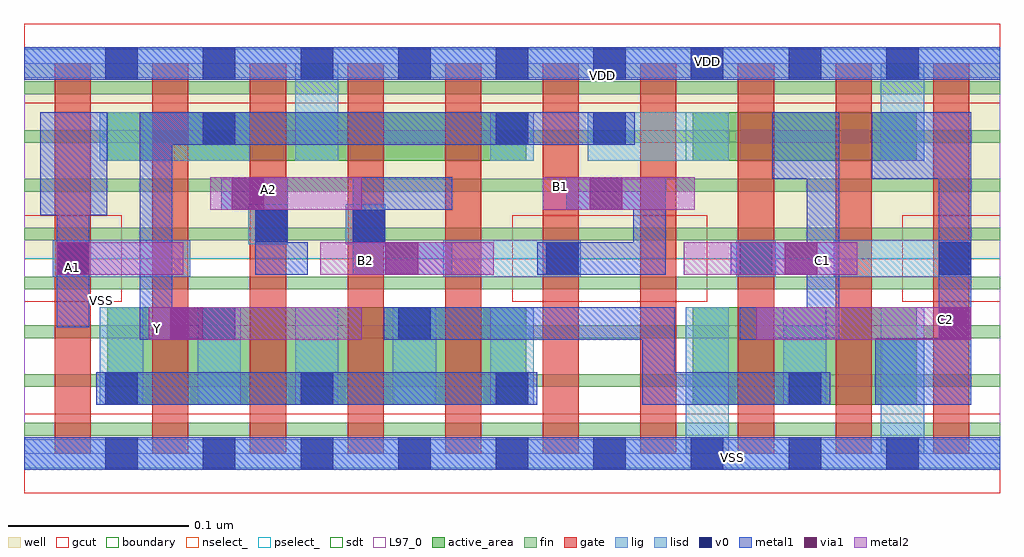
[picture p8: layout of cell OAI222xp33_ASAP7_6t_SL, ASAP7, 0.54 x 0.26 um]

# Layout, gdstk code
import gdstk
lib = gdstk.Library(unit=1e-6, precision=2.5e-10)
def R(c, l, rs):  # rectangles x0, y0, x1, y1
    for r in rs: c.add(gdstk.rectangle(r[:2], r[2:], *l))
def A(c, l, x, y, w, h, nx, ny, dx, dy):  # array of equal rectangles
    R(c, l, [(x+i*dx, y+j*dy, x+i*dx+w, y+j*dy+h) for i in range(nx) for j in range(ny)])
def P(c, l, *ps):  # polygons
    for p in ps: c.add(gdstk.Polygon(p, *l))
well = (1, 0)
fin = (2, 0)
gate = (7, 0)
gcut = (10, 0)
active_area = (11, 0)
nselect_ = (12, 0)
pselect_ = (13, 0)
lig = (16, 0)
lisd = (17, 0)
v0 = (18, 0)
metal1 = (19, 0)
metal2 = (20, 0)
via1 = (21, 0)
sdt = (88, 0)
L97_0 = (97, 0)
boundary = (100, 0)

oai222xp33_asap7_6t_sl = lib.new_cell('OAI222xp33_ASAP7_6t_SL')
R(oai222xp33_asap7_6t_sl, well, [(0,0.108,0.54,0.216)])
A(oai222xp33_asap7_6t_sl, fin, 0, 0.037, 0.54, 0.007, 1, 7, 0, 0.027)
R(oai222xp33_asap7_6t_sl, fin, [(0,0.01,0.54,0.017), (0,0.01,0.54,0.017), (0,0.037,0.54,0.044)])
A(oai222xp33_asap7_6t_sl, gate, 0.017, 0, 0.02, 0.216, 10, 1, 0.054, 0)
R(oai222xp33_asap7_6t_sl, gcut, [(0,-0.022,0.54,0.022), (0,0.084,0.054,0.132), (0.27,0.084,0.378,0.132), (0.486,0.084,0.54,0.132), (0,0.194,0.54,0.238)])
R(oai222xp33_asap7_6t_sl, active_area, [(0.046,0.027,0.278,0.081), (0.37,0.027,0.494,0.081), (0.046,0.162,0.278,0.189), (0.37,0.162,0.494,0.189)])
R(oai222xp33_asap7_6t_sl, nselect_, [(0,0,0.54,0.108)])
R(oai222xp33_asap7_6t_sl, pselect_, [(0,0.108,0.54,0.216)])
A(oai222xp33_asap7_6t_sl, lig, 0.016, 0.098, 0.076, 0.02, 3, 1, 0.216, 0)
R(oai222xp33_asap7_6t_sl, lig, [(0,-0.008,0.54,0.008), (0.394,0.098,0.416,0.118), (0.124,0.116,0.146,0.138), (0.178,0.116,0.2,0.138), (0,0.208,0.54,0.224)])
A(oai222xp33_asap7_6t_sl, lisd, 0.042, 0.027, 0.024, 0.054, 5, 1, 0.054, 0)
R(oai222xp33_asap7_6t_sl, lisd, [(0.366,0,0.39,0.081), (0.474,0,0.498,0.081), (0.42,0.027,0.444,0.081), (0.042,0.162,0.125,0.189), (0.15,0.162,0.174,0.216), (0.258,0.162,0.282,0.189), (0.312,0.162,0.39,0.189), (0.474,0.162,0.498,0.216)])
A(oai222xp33_asap7_6t_sl, v0, 0.045, -0.009, 0.018, 0.018, 9, 2, 0.054, 0.216)
A(oai222xp33_asap7_6t_sl, v0, 0.045, 0.027, 0.018, 0.018, 3, 1, 0.108, 0)
R(oai222xp33_asap7_6t_sl, v0, [(0.423,0.027,0.441,0.045), (0.099,0.063,0.117,0.081), (0.207,0.063,0.225,0.081), (0.018,0.099,0.036,0.117), (0.289,0.099,0.307,0.117), (0.396,0.099,0.414,0.117), (0.506,0.099,0.524,0.117), (0.128,0.117,0.146,0.135), (0.182,0.117,0.2,0.135), (0.099,0.171,0.117,0.189), (0.261,0.171,0.279,0.189), (0.315,0.171,0.333,0.189)])
R(oai222xp33_asap7_6t_sl, metal1, [(0,-0.009,0.54,0.009), (0.04,0.027,0.284,0.045), (0.471,0.027,0.522,0.064), (0.506,0.027,0.524,0.189), (0.396,0.063,0.433,0.081), (0.433,0.063,0.451,0.189), (0.018,0.07,0.036,0.189), (0.128,0.099,0.157,0.117), (0.182,0.099,0.237,0.117), (0.391,0.099,0.451,0.117), (0.009,0.132,0.046,0.189), (0.414,0.152,0.433,0.189), (0.469,0.152,0.522,0.189), (0,0.207,0.54,0.225)])
P(oai222xp33_asap7_6t_sl, metal1, [(0.446,0.045),(0.36,0.045),(0.36,0.081),(0.199,0.081),(0.199,0.063),(0.342,0.063),(0.342,0.027),(0.446,0.027)],
  [(0.182,0.117),(0.2,0.117),(0.2,0.135),(0.237,0.135),(0.237,0.153),(0.182,0.153)],
  [(0.338,0.171),(0.082,0.171),(0.082,0.081),(0.117,0.081),(0.117,0.063),(0.064,0.063),(0.064,0.189),(0.338,0.189)],
  [(0.146,0.099),(0.128,0.099),(0.128,0.135),(0.109,0.135),(0.109,0.153),(0.146,0.153)],
  [(0.355,0.099),(0.284,0.099),(0.284,0.117),(0.337,0.117),(0.337,0.135),(0.3,0.135),(0.3,0.153),(0.355,0.153)])
R(oai222xp33_asap7_6t_sl, metal2, [(0.069,0.063,0.187,0.081), (0.405,0.063,0.524,0.081), (0.018,0.099,0.088,0.117), (0.164,0.099,0.26,0.117), (0.365,0.099,0.461,0.117), (0.103,0.135,0.187,0.153), (0.287,0.135,0.371,0.153)])
R(oai222xp33_asap7_6t_sl, via1, [(0.081,0.063,0.099,0.081), (0.506,0.063,0.524,0.081), (0.018,0.099,0.036,0.117), (0.2,0.099,0.218,0.117), (0.421,0.099,0.439,0.117), (0.115,0.135,0.133,0.153), (0.313,0.135,0.331,0.153)])
A(oai222xp33_asap7_6t_sl, sdt, 0.042, 0.027, 0.024, 0.054, 5, 1, 0.054, 0)
A(oai222xp33_asap7_6t_sl, sdt, 0.366, 0.027, 0.024, 0.054, 3, 1, 0.054, 0)
A(oai222xp33_asap7_6t_sl, sdt, 0.042, 0.162, 0.024, 0.027, 5, 1, 0.108, 0)
R(oai222xp33_asap7_6t_sl, L97_0, [(0,0,0.54,0.216)])
R(oai222xp33_asap7_6t_sl, boundary, [(0,0,0.54,0.216)])
oai222xp33_asap7_6t_sl.add(gdstk.Label('VSS', (0.043,0.085), layer=3, texttype=251))
oai222xp33_asap7_6t_sl.add(gdstk.Label('VSS', (0.392,-0.002), layer=19, texttype=251))
oai222xp33_asap7_6t_sl.add(gdstk.Label('VDD', (0.378,0.217), layer=19, texttype=251))
oai222xp33_asap7_6t_sl.add(gdstk.Label('VDD', (0.32,0.209), layer=1, texttype=251))
oai222xp33_asap7_6t_sl.add(gdstk.Label('C2', (0.51,0.074), layer=20, texttype=251))
oai222xp33_asap7_6t_sl.add(gdstk.Label('C1', (0.442,0.107), layer=20, texttype=251))
oai222xp33_asap7_6t_sl.add(gdstk.Label('B1', (0.297,0.148), layer=20, texttype=251))
oai222xp33_asap7_6t_sl.add(gdstk.Label('Y', (0.074,0.069), layer=20, texttype=251))
oai222xp33_asap7_6t_sl.add(gdstk.Label('B2', (0.189,0.107), layer=20, texttype=251))
oai222xp33_asap7_6t_sl.add(gdstk.Label('A2', (0.135,0.146), layer=20, texttype=251))
oai222xp33_asap7_6t_sl.add(gdstk.Label('A1', (0.027,0.103), layer=20, texttype=251))

lib.write_gds('OAI222xp33_ASAP7_6t_SL.gds')
